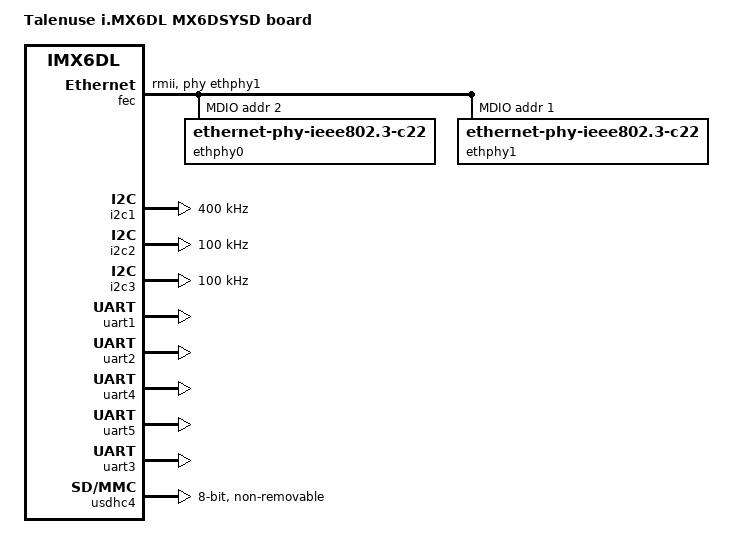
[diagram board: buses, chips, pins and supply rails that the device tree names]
// SPDX-License-Identifier: (GPL-2.0+ OR MIT)
/*
 * Copyright (C) 2018 BTicino
 * Copyright (C) 2018 Amarula Solutions B.V.
 */

/dts-v1/;

#include <dt-bindings/gpio/gpio.h>
#include "imx6dl.dtsi"
#include "imx6qdl-mx6dsysd.dtsi"

/ {
	model = "Talenuse i.MX6DL MX6DSYSD board";
	compatible = "talenuse,mx6dsysd", "fsl,imx6dl";

	aliases {
		mmc2 = &usdhc4;
	};

	chosen {
		stdout-path = &uart1;
	};
};

&fec {
	pinctrl-names = "default";
	pinctrl-0 = <&pinctrl_enet>;
	phy-mode = "rmii";
	phy-handle = <&ethphy1>;
	status = "okay";

	mdio {
		#address-cells = <1>;
		#size-cells = <0>;

		ethphy0: ethernet-phy@2 {
			compatible = "ethernet-phy-ieee802.3-c22";
			reg = <2>;
		};

		ethphy1: ethernet-phy@1 {
			compatible = "ethernet-phy-ieee802.3-c22";
			reg = <1>;
		};
	};
};

&i2c1 {
	clock-frequency = <400000>;
	pinctrl-names = "default";
	pinctrl-0 = <&pinctrl_i2c1>;
	status = "okay";
};

&i2c2 {
	clock-frequency = <100000>;
	pinctrl-names = "default";
	pinctrl-0 = <&pinctrl_i2c2>;
	status = "okay";

};

&i2c3 {
	clock-frequency = <100000>;
	pinctrl-names = "default";
	pinctrl-0 = <&pinctrl_i2c3>;
	status = "okay";

};

&uart1 {
	pinctrl-names = "default";
	pinctrl-0 = <&pinctrl_uart1>;
	status = "okay";
};

&uart2 {
	pinctrl-names = "default";
	pinctrl-0 = <&pinctrl_uart2>;
	status = "okay";
};

&uart4 {
	pinctrl-names = "default";
	pinctrl-0 = <&pinctrl_uart4>;
	status = "okay";
};

&uart5 {
	pinctrl-names = "default";
	pinctrl-0 = <&pinctrl_uart5>;
	status = "okay";
};

&uart3 {
	pinctrl-names = "default";
	pinctrl-0 = <&pinctrl_uart3>;
	status = "okay";
};

&usdhc4 {
	pinctrl-names = "default";
	pinctrl-0 = <&pinctrl_usdhc4>;
	bus-width = <8>;
	non-removable;
	keep-power-in-suspend;
	status = "okay";
};

&ldb {
	lvds-channel@0 {
		crtc = "ipu1-di0";
	};

	lvds-channel@1 {
		crtc = "ipu1-di1";
	};
};



